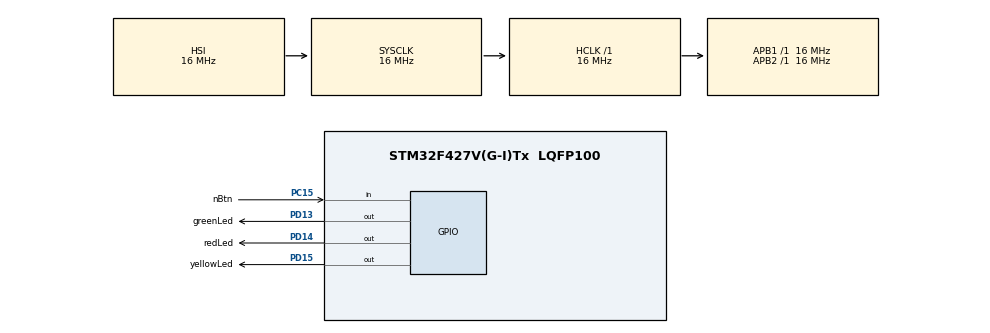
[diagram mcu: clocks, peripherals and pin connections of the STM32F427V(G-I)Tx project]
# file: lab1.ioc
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Mcu.Family=STM32F4
Mcu.Name=STM32F427V(G-I)Tx
Mcu.Package=LQFP100
NVIC.PriorityGroup=NVIC_PRIORITYGROUP_4
PA13.Mode=JTAG_5_pins
PA13.Signal=SYS_JTMS-SWDIO
PA14.Mode=JTAG_5_pins
PA14.Signal=SYS_JTCK-SWCLK
PA15.Mode=JTAG_5_pins
PA15.Signal=SYS_JTDI
PB3.Mode=JTAG_5_pins
PB3.Signal=SYS_JTDO-SWO
PB4.Mode=JTAG_5_pins
PB4.Signal=SYS_JTRST
PC15/OSC32_OUT.GPIO_Label=nBtn
PC15/OSC32_OUT.Signal=GPIO_Input
PD13.GPIO_Label=greenLed
PD13.Signal=GPIO_Output
PD14.GPIO_Label=redLed
PD14.Signal=GPIO_Output
PD15.GPIO_Label=yellowLed
PD15.Signal=GPIO_Output
ProjectManager.HeapSize=0x200
ProjectManager.StackSize=0x400
ProjectManager.TargetToolchain=STM32CubeIDE
RCC.AHBFreq_Value=16000000
RCC.APB1Freq_Value=16000000
RCC.APB2Freq_Value=16000000
RCC.CortexFreq_Value=16000000
RCC.HSE_VALUE=25000000
RCC.HSI_VALUE=16000000
RCC.LSE_VALUE=32768
RCC.SYSCLKFreq_VALUE=16000000
RCC.VCOOutputFreq_Value=192000000
board=custom

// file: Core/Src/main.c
/* USER CODE BEGIN Header */
/**
  ******************************************************************************
  * @file           : main.c
  * @brief          : Main program body
  ******************************************************************************
  * @attention
  *
  * Copyright (c) 2022 STMicroelectronics.
  * All rights reserved.
  *
  * This software is licensed under terms that can be found in the LICENSE file
  * in the root directory of this software component.
  * If no LICENSE file comes with this software, it is provided AS-IS.
  *
  ******************************************************************************
  */
/* USER CODE END Header */
#include "main.h"
#include "gpio.h"

/* USER CODE BEGIN Includes */
#include "traffic_light.h"
#include "hardware/button.h"
/* USER CODE END Includes */

/* USER CODE BEGIN PD */
#define RED_DURATION_START 6000
#define YELLOW_DURATION_START 1500
#define GREEN_DURATION_START 1500
/* USER CODE END PD */

/* USER CODE BEGIN PV */
static uint16_t durations[3] = {
        [RED] = RED_DURATION_START,
        [YELLOW] = YELLOW_DURATION_START,
        [GREEN] = GREEN_DURATION_START
};
/* USER CODE END PV */

void SystemClock_Config(void);
/* USER CODE BEGIN PFP */
static void onButtonClick();
/* USER CODE END PFP */

int main(void)
{

  /* MCU Configuration--------------------------------------------------------*/

  /* Reset of all peripherals, Initializes the Flash interface and the Systick. */
  HAL_Init();

  /* Configure the system clock */
  SystemClock_Config();

  /* Initialize all configured peripherals */
  MX_GPIO_Init();
  /* USER CODE BEGIN 2 */
  trafficLightInit(
		  redLed_GPIO_Port, redLed_Pin,
		  yellowLed_GPIO_Port, yellowLed_Pin,
		  greenLed_GPIO_Port, greenLed_Pin
  );
  trafficLightSetDuration(RED, durations[RED]);
  trafficLightSetDuration(GREEN, durations[GREEN]);
  trafficLightSetDuration(YELLOW, durations[YELLOW]);
  buttonInit(nBtn_GPIO_Port, nBtn_Pin);
  buttonSetOnClick(&onButtonClick);
  trafficLightStart();
  /* USER CODE END 2 */

  /* Infinite loop */
  /* USER CODE BEGIN WHILE */
  while (1)  {
	  trafficLightUpdate();
	  buttonUpdateState();
    /* USER CODE END WHILE */

  }
}

void SystemClock_Config(void)
{
  RCC_OscInitTypeDef RCC_OscInitStruct = {0};
  RCC_ClkInitTypeDef RCC_ClkInitStruct = {0};

  /** Configure the main internal regulator output voltage
  */
  __HAL_RCC_PWR_CLK_ENABLE();
  __HAL_PWR_VOLTAGESCALING_CONFIG(PWR_REGULATOR_VOLTAGE_SCALE3);

  /** Initializes the RCC Oscillators according to the specified parameters
  * in the RCC_OscInitTypeDef structure.
  */
  RCC_OscInitStruct.OscillatorType = RCC_OSCILLATORTYPE_HSI;
  RCC_OscInitStruct.HSIState = RCC_HSI_ON;
  RCC_OscInitStruct.HSICalibrationValue = RCC_HSICALIBRATION_DEFAULT;
  RCC_OscInitStruct.PLL.PLLState = RCC_PLL_NONE;
  if (HAL_RCC_OscConfig(&RCC_OscInitStruct) != HAL_OK)
  {
    Error_Handler();
  }

  /** Initializes the CPU, AHB and APB buses clocks
  */
  RCC_ClkInitStruct.ClockType = RCC_CLOCKTYPE_HCLK|RCC_CLOCKTYPE_SYSCLK
                              |RCC_CLOCKTYPE_PCLK1|RCC_CLOCKTYPE_PCLK2;
  RCC_ClkInitStruct.SYSCLKSource = RCC_SYSCLKSOURCE_HSI;
  RCC_ClkInitStruct.AHBCLKDivider = RCC_SYSCLK_DIV1;
  RCC_ClkInitStruct.APB1CLKDivider = RCC_HCLK_DIV1;
  RCC_ClkInitStruct.APB2CLKDivider = RCC_HCLK_DIV1;

  if (HAL_RCC_ClockConfig(&RCC_ClkInitStruct, FLASH_LATENCY_0) != HAL_OK)
  {
    Error_Handler();
  }
}

/* USER CODE BEGIN 4 */
static void onButtonClick() {
	if (isButtonAllowed()) {
		durations[RED] >>= 2;
		if (durations[RED] >= getLedDuration(RED)) {
			setLedDuration(RED, 0);
		} else {
			setLedDuration(RED, durations[RED]);
		}
		durations[RED] = RED_DURATION_START;
	}
}
/* USER CODE END 4 */

void Error_Handler(void)
{
  __disable_irq();
  while (1)
  {
  }
}
